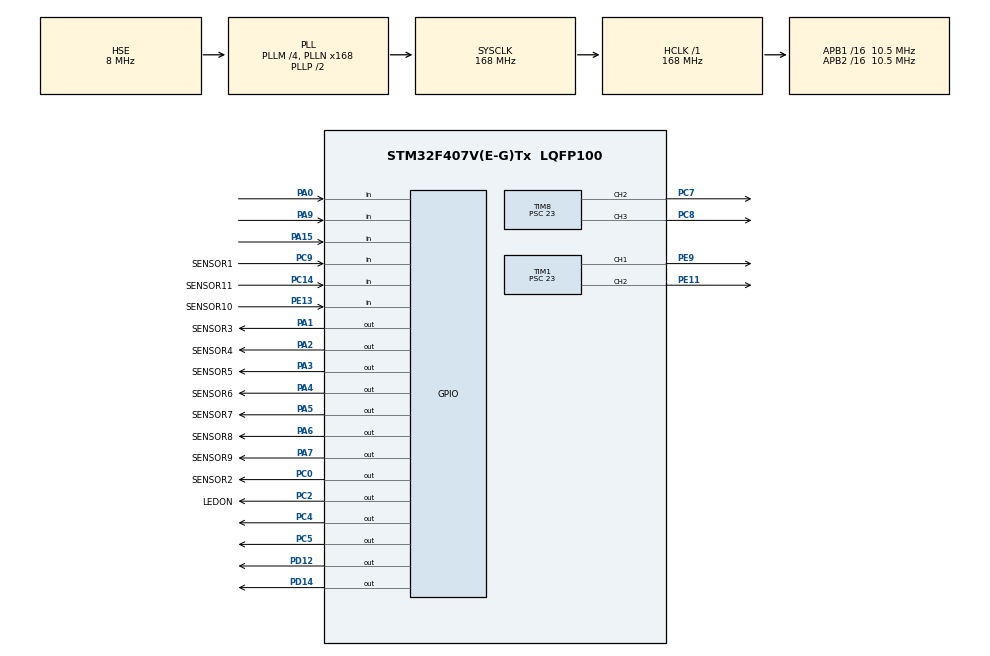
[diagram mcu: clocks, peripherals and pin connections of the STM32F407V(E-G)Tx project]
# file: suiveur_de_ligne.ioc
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Mcu.Family=STM32F4
Mcu.Name=STM32F407V(E-G)Tx
Mcu.Package=LQFP100
NVIC.PriorityGroup=NVIC_PRIORITYGROUP_0
PA0-WKUP.Signal=GPIO_Input
PA1.GPIO_Label=SENSOR3
PA1.Signal=GPIO_Output
PA13.Mode=Serial_Wire
PA13.Signal=SYS_JTMS-SWDIO
PA14.Mode=Serial_Wire
PA14.Signal=SYS_JTCK-SWCLK
PA15.Signal=GPIO_Input
PA2.GPIO_Label=SENSOR4
PA2.Signal=GPIO_Output
PA3.GPIO_Label=SENSOR5
PA3.Signal=GPIO_Output
PA4.GPIO_Label=SENSOR6
PA4.Signal=GPIO_Output
PA5.GPIO_Label=SENSOR7
PA5.Signal=GPIO_Output
PA6.GPIO_Label=SENSOR8
PA6.Signal=GPIO_Output
PA7.GPIO_Label=SENSOR9
PA7.Signal=GPIO_Output
PA9.Signal=GPIO_Input
PC0.GPIO_Label=SENSOR2
PC0.Signal=GPIO_Output
PC14-OSC32_IN.GPIO_Label=SENSOR11
PC14-OSC32_IN.Signal=GPIO_Input
PC2.GPIO_Label=LEDON
PC2.Signal=GPIO_Output
PC4.Signal=GPIO_Output
PC5.Signal=GPIO_Output
PC7.Signal=S_TIM8_CH2
PC8.Signal=S_TIM8_CH3
PC9.GPIO_Label=SENSOR1
PC9.Signal=GPIO_Input
PD12.Signal=GPIO_Output
PD14.Signal=GPIO_Output
PE11.Signal=S_TIM1_CH2
PE13.GPIO_Label=SENSOR10
PE13.Signal=GPIO_Input
PE9.Signal=S_TIM1_CH1
PH0-OSC_IN.Mode=HSE-External-Oscillator
PH0-OSC_IN.Signal=RCC_OSC_IN
PH1-OSC_OUT.Mode=HSE-External-Oscillator
PH1-OSC_OUT.Signal=RCC_OSC_OUT
ProjectManager.HeapSize=0x200
ProjectManager.StackSize=0x400
ProjectManager.TargetToolchain=STM32CubeIDE
RCC.48MHZClocksFreq_Value=48000000
RCC.AHBFreq_Value=168000000
RCC.APB1CLKDivider=RCC_HCLK_DIV16
RCC.APB1Freq_Value=10500000
RCC.APB1TimFreq_Value=21000000
RCC.APB2CLKDivider=RCC_HCLK_DIV16
RCC.APB2Freq_Value=10500000
RCC.APB2TimFreq_Value=21000000
RCC.CortexFreq_Value=168000000
RCC.HCLKFreq_Value=168000000
RCC.HSE_VALUE=8000000
RCC.HSI_VALUE=16000000
RCC.LSE_VALUE=32768
RCC.PLLM=4
RCC.PLLN=168
RCC.PLLQ=7
RCC.PLLSourceVirtual=RCC_PLLSOURCE_HSE
RCC.SYSCLKFreq_VALUE=168000000
RCC.SYSCLKSource=RCC_SYSCLKSOURCE_PLLCLK
RCC.VCOOutputFreq_Value=336000000
SH.S_TIM1_CH1.0=TIM1_CH1,PWM Generation1 CH1
SH.S_TIM1_CH2.0=TIM1_CH2,PWM Generation2 CH2
SH.S_TIM8_CH2.0=TIM8_CH2,PWM Generation2 CH2
SH.S_TIM8_CH3.0=TIM8_CH3,PWM Generation3 CH3
TIM1.Channel-PWM\ Generation1\ CH1=TIM_CHANNEL_1
TIM1.Channel-PWM\ Generation2\ CH2=TIM_CHANNEL_2
TIM1.Period=999
TIM1.Prescaler=23
TIM2.Period=65000
TIM2.Prescaler=20
TIM8.Channel-PWM\ Generation2\ CH2=TIM_CHANNEL_2
TIM8.Channel-PWM\ Generation3\ CH3=TIM_CHANNEL_3
TIM8.Period=999
TIM8.Prescaler=23
VP_TIM1_VS_ClockSourceINT.Mode=Internal
VP_TIM2_VS_ClockSourceINT.Mode=Internal
VP_TIM8_VS_ClockSourceINT.Mode=Internal
board=STM32F407G-DISC1

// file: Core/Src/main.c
/* USER CODE BEGIN Header */
/**
  ******************************************************************************
  * @file           : main.c
  * @brief          : Main program body
  ******************************************************************************
  * @attention
  *
  * Copyright (c) 2024 STMicroelectronics.
  * All rights reserved.
  *
  * This software is licensed under terms that can be found in the LICENSE file
  * in the root directory of this software component.
  * If no LICENSE file comes with this software, it is provided AS-IS.
  *
  ******************************************************************************
  */
/* USER CODE END Header */
#include "main.h"

TIM_HandleTypeDef htim1;
TIM_HandleTypeDef htim2;
TIM_HandleTypeDef htim8;

/* USER CODE BEGIN PV */
    int32_t sensor_read = 0x00000000;
	int position;
	int recv[100];
	float Kp = 1;// // 1 set up the constants value1.9//0.95//3
	//float Ki = 0.5;//0.5//0.3//0.468
	float Kd = 0.65;//22//25//20 0.04875//0.052

	float Kr = 0;
	int P, I, D, R;
	int lastError = 0;
	int errors[10] = {0,0,0,0,0,0,0,0,0,0};
	int error_sum = 0;
	int last_end = 0;	// 0 -> Left, 1 -> Right
	int last_idle = 0;
int c1,c2,c3,c4,c5,c6,c7,c8,c9,c10;
	const uint16_t Speed =1000;
	const uint16_t Speedt =1000;
    uint8_t c=0;
    uint8_t flag=0;
	int actives = 0;
/* USER CODE END PV */

void SystemClock_Config(void);
static void MX_GPIO_Init(void);
static void MX_TIM1_Init(void);
static void MX_TIM2_Init(void);
static void MX_TIM8_Init(void);

/* USER CODE BEGIN 0 */
void delay_us (uint16_t us)
{
	__HAL_TIM_SET_COUNTER(&htim2,0);  // set the counter value a 0
 while (__HAL_TIM_GET_COUNTER(&htim2) < us);  // wait for the counter to reach the us input in the parameter
}

void Set_Pin_Output (GPIO_TypeDef *GPIOx, uint16_t GPIO_Pin)
{
	GPIO_InitTypeDef GPIO_InitStruct = {0};
	GPIO_InitStruct.Pin = GPIO_Pin;
	GPIO_InitStruct.Mode = GPIO_MODE_OUTPUT_PP;
	GPIO_InitStruct.Pull = GPIO_NOPULL;
	GPIO_InitStruct.Speed = GPIO_SPEED_FREQ_LOW;
	HAL_GPIO_Init(GPIOx, &GPIO_InitStruct);
}

void Set_Pin_Input (GPIO_TypeDef *GPIOx, uint16_t GPIO_Pin)
{
	GPIO_InitTypeDef GPIO_InitStruct = {0};
	GPIO_InitStruct.Pin = GPIO_Pin;
	GPIO_InitStruct.Mode = GPIO_MODE_INPUT;
	GPIO_InitStruct.Pull = GPIO_PULLUP;
	HAL_GPIO_Init(GPIOx, &GPIO_InitStruct);
}

int QTR8_read_black()
{
	HAL_GPIO_WritePin(LEDON_GPIO_Port, LEDON_Pin, 1);

	//Set_Pin_Output(SENSOR1_GPIO_Port, SENSOR1_Pin);
	Set_Pin_Output(SENSOR2_GPIO_Port, SENSOR2_Pin);
	Set_Pin_Output(SENSOR3_GPIO_Port, SENSOR3_Pin);
	Set_Pin_Output(SENSOR4_GPIO_Port, SENSOR4_Pin);
	Set_Pin_Output(SENSOR5_GPIO_Port, SENSOR5_Pin);
	Set_Pin_Output(SENSOR6_GPIO_Port, SENSOR6_Pin);
	Set_Pin_Output(SENSOR7_GPIO_Port, SENSOR7_Pin);
	Set_Pin_Output(SENSOR8_GPIO_Port, SENSOR8_Pin);
	Set_Pin_Output(SENSOR9_GPIO_Port, SENSOR9_Pin);
	//Set_Pin_Output(SENSOR10_GPIO_Port, SENSOR10_Pin);

	//HAL_GPIO_WritePin (SENSOR1_GPIO_Port, SENSOR1_Pin, 1);
	HAL_GPIO_WritePin (SENSOR2_GPIO_Port, SENSOR2_Pin, 1);
	HAL_GPIO_WritePin (SENSOR3_GPIO_Port, SENSOR3_Pin, 1);
	HAL_GPIO_WritePin (SENSOR4_GPIO_Port, SENSOR4_Pin, 1);
	HAL_GPIO_WritePin (SENSOR5_GPIO_Port, SENSOR5_Pin, 1);
	HAL_GPIO_WritePin (SENSOR6_GPIO_Port, SENSOR6_Pin, 1);
	HAL_GPIO_WritePin (SENSOR7_GPIO_Port, SENSOR7_Pin, 1);
	HAL_GPIO_WritePin (SENSOR8_GPIO_Port, SENSOR8_Pin, 1);
	HAL_GPIO_WritePin (SENSOR9_GPIO_Port, SENSOR9_Pin, 1);
	//HAL_GPIO_WritePin (SENSOR10_GPIO_Port, SENSOR10_Pin, 1);
	delay_us(10);

	Set_Pin_Input(SENSOR1_GPIO_Port, SENSOR1_Pin);
	Set_Pin_Input(SENSOR2_GPIO_Port, SENSOR2_Pin);
	Set_Pin_Input(SENSOR3_GPIO_Port, SENSOR3_Pin);
	Set_Pin_Input(SENSOR4_GPIO_Port, SENSOR4_Pin);
	Set_Pin_Input(SENSOR5_GPIO_Port, SENSOR5_Pin);
	Set_Pin_Input(SENSOR6_GPIO_Port, SENSOR6_Pin);
	Set_Pin_Input(SENSOR7_GPIO_Port, SENSOR7_Pin);
	Set_Pin_Input(SENSOR8_GPIO_Port, SENSOR8_Pin);
	Set_Pin_Input(SENSOR9_GPIO_Port, SENSOR9_Pin);
	Set_Pin_Input(SENSOR10_GPIO_Port, SENSOR10_Pin);
	// Threshold
	delay_us(6000);

	sensor_read = 0x00000000;
	int pos = 0;
    int active = 0;

	if (HAL_GPIO_ReadPin(SENSOR2_GPIO_Port, SENSOR2_Pin)) {
		sensor_read |= 0x00000001;
		pos += 1000;

        active++;

	}
	if (HAL_GPIO_ReadPin(SENSOR3_GPIO_Port, SENSOR3_Pin)) {
		sensor_read |= 0x00000010;
		pos += 2000;
    active++;

  }
	if (HAL_GPIO_ReadPin(SENSOR4_GPIO_Port, SENSOR4_Pin)) {
		sensor_read |= 0x00000100;
		pos += 3000;
    active++;
  }
	if (HAL_GPIO_ReadPin(SENSOR5_GPIO_Port, SENSOR5_Pin)) {
		sensor_read |= 0x00001000;
		pos += 4000;
    active++;
  }
	if (HAL_GPIO_ReadPin(SENSOR6_GPIO_Port, SENSOR6_Pin)) {
		sensor_read |= 0x00010000;
		pos += 5000;
    active++;
  }
	if (HAL_GPIO_ReadPin(SENSOR7_GPIO_Port, SENSOR7_Pin)) {
		sensor_read |= 0x00100000;
		pos += 6000;
    active++;
  }
	if (HAL_GPIO_ReadPin(SENSOR8_GPIO_Port, SENSOR8_Pin)) {
		sensor_read |= 0x01000000;
		pos += 7000;
    active++;
  }

	if (HAL_GPIO_ReadPin(SENSOR9_GPIO_Port, SENSOR9_Pin)) {
		sensor_read |= 0x10000000;
		pos += 8000;
    active++;

  }

  HAL_GPIO_WritePin(LEDON_GPIO_Port, LEDON_Pin, 0);
    actives = active;
	position = pos/active;

	if (actives == 0)
		last_idle++;
	else
		last_idle = 0;

	c10=HAL_GPIO_ReadPin(SENSOR10_GPIO_Port, SENSOR10_Pin);
	c5=HAL_GPIO_ReadPin(SENSOR1_GPIO_Port, SENSOR1_Pin);
	return pos/active;
}

void past_errors (int error)
{
  for (int i = 9; i > 0; i--)
      errors[i] = errors[i-1];
  errors[0] = error;
}

int errors_sum (int index, int abs)
{
  int sum = 0;
  for (int i = 0; i < index; i++)
  {
    if ((abs == 1) && ( errors[i]< 0))
      sum += -errors[i];
    else
      sum += errors[i];
  }
  return sum;
}
void move(int motor, int speed, int direction)
{

    unsigned int inPin1 = 0;
    unsigned int inPin2 = 0;

    if (direction == 1)
    {
        inPin1 = speed;
        inPin2 = 0;
    }
    if (direction == 0)
    {
        inPin1 = 0;
        inPin2 = speed;
    }

    if (motor == 0)
    {
    	  __HAL_TIM_SET_COMPARE (&htim1, TIM_CHANNEL_1, inPin1);
    	  __HAL_TIM_SET_COMPARE (&htim1, TIM_CHANNEL_2,inPin2);

    }
    if (motor == 1)
    {
  	  __HAL_TIM_SET_COMPARE (&htim8, TIM_CHANNEL_2, inPin1*0.55);
  	  __HAL_TIM_SET_COMPARE (&htim8, TIM_CHANNEL_3,inPin2*0.55 );
    }
}

int constrain(int value, int min, int max) {
    if (value < min) {
        return min;
    } else if (value > max) {
        return max;
    } else {
        return value;
    }
}

void stop (void)
{

if((sensor_read==0x11111111)) {flag=1;}

if ((sensor_read!=0x11111111)&&(flag==1))
{
	__HAL_TIM_SET_COMPARE (&htim1, TIM_CHANNEL_1, 100);
	__HAL_TIM_SET_COMPARE (&htim1, TIM_CHANNEL_2,100);
    __HAL_TIM_SET_COMPARE (&htim8, TIM_CHANNEL_2, 100);
	__HAL_TIM_SET_COMPARE (&htim8, TIM_CHANNEL_3, 100);
    HAL_Delay(70000);
}
}

void PID_control(){
	uint16_t position=QTR8_read_black();
		int error=4333 - position;//5500//5300//4333
			past_errors(error);
			P = error;
			I = errors_sum(5, 0);
			D = error - lastError;
			R = errors_sum(5, 1);

		 int adjustment = Kp * error + Kd * D;
		 lastError = error;
c4=HAL_GPIO_ReadPin(SENSOR11_GPIO_Port, SENSOR11_Pin);
		 stop();

	        move(0, (constrain(Speed + adjustment, 0, Speed)), 1);
	        move(1, (constrain(Speed - adjustment, 0, Speed)), 1);
	/*int motorspeed = P*Kp + I*Ki + D*Kd;
*/

}

/* USER CODE END 0 */

int main(void)
{

  /* MCU Configuration--------------------------------------------------------*/

  /* Reset of all peripherals, Initializes the Flash interface and the Systick. */
  HAL_Init();

  /* Configure the system clock */
  SystemClock_Config();

  /* Initialize all configured peripherals */
  MX_GPIO_Init();
  MX_TIM1_Init();
  MX_TIM2_Init();
  MX_TIM8_Init();
  /* USER CODE BEGIN 2 */
  HAL_GPIO_WritePin(GPIOC, GPIO_PIN_4,1);
  HAL_GPIO_WritePin(GPIOC, GPIO_PIN_5,1);
  while(!(HAL_GPIO_ReadPin(GPIOA, GPIO_PIN_0))){}
  HAL_Delay(100);
  HAL_TIM_Base_Start(&htim2);
  HAL_TIM_PWM_Start(&htim1, TIM_CHANNEL_1);
  HAL_TIM_PWM_Start(&htim8, TIM_CHANNEL_2);

  HAL_TIM_PWM_Start(&htim1, TIM_CHANNEL_2);
  HAL_TIM_PWM_Start(&htim8, TIM_CHANNEL_3);

  while (1)
  {
    /* USER CODE END WHILE */

    /* USER CODE BEGIN 3 */
	  if ((HAL_GPIO_ReadPin(SENSOR1_GPIO_Port, SENSOR1_Pin))&&(!(HAL_GPIO_ReadPin(SENSOR10_GPIO_Port, SENSOR10_Pin))))
	  				 {
	  		 			do {c1=1;
	  		 			c3=0;
	  		 				move(0,Speedt, 1);
	  		 			}while(HAL_GPIO_ReadPin(SENSOR11_GPIO_Port, SENSOR11_Pin));

	  		 			c1=0; }
	  		 else if ((HAL_GPIO_ReadPin(SENSOR10_GPIO_Port, SENSOR10_Pin))&&(!(HAL_GPIO_ReadPin(SENSOR1_GPIO_Port, SENSOR1_Pin))))
	  		 			{
	  do{c2=1;
	  c3=0;
	  		 		move(1,Speedt, 1);
	  		 		}while(HAL_GPIO_ReadPin(SENSOR11_GPIO_Port, SENSOR11_Pin));
	  c2=0;}
	  		 else{c3=1;

	 PID_control();
	  		 }
  }
  /* USER CODE END 3 */
}

void SystemClock_Config(void)
{
  RCC_OscInitTypeDef RCC_OscInitStruct = {0};
  RCC_ClkInitTypeDef RCC_ClkInitStruct = {0};

  /** Configure the main internal regulator output voltage
  */
  __HAL_RCC_PWR_CLK_ENABLE();
  __HAL_PWR_VOLTAGESCALING_CONFIG(PWR_REGULATOR_VOLTAGE_SCALE1);

  /** Initializes the RCC Oscillators according to the specified parameters
  * in the RCC_OscInitTypeDef structure.
  */
  RCC_OscInitStruct.OscillatorType = RCC_OSCILLATORTYPE_HSE;
  RCC_OscInitStruct.HSEState = RCC_HSE_ON;
  RCC_OscInitStruct.PLL.PLLState = RCC_PLL_ON;
  RCC_OscInitStruct.PLL.PLLSource = RCC_PLLSOURCE_HSE;
  RCC_OscInitStruct.PLL.PLLM = 4;
  RCC_OscInitStruct.PLL.PLLN = 168;
  RCC_OscInitStruct.PLL.PLLP = RCC_PLLP_DIV2;
  RCC_OscInitStruct.PLL.PLLQ = 7;
  if (HAL_RCC_OscConfig(&RCC_OscInitStruct) != HAL_OK)
  {
    Error_Handler();
  }

  /** Initializes the CPU, AHB and APB buses clocks
  */
  RCC_ClkInitStruct.ClockType = RCC_CLOCKTYPE_HCLK|RCC_CLOCKTYPE_SYSCLK
                              |RCC_CLOCKTYPE_PCLK1|RCC_CLOCKTYPE_PCLK2;
  RCC_ClkInitStruct.SYSCLKSource = RCC_SYSCLKSOURCE_PLLCLK;
  RCC_ClkInitStruct.AHBCLKDivider = RCC_SYSCLK_DIV1;
  RCC_ClkInitStruct.APB1CLKDivider = RCC_HCLK_DIV16;
  RCC_ClkInitStruct.APB2CLKDivider = RCC_HCLK_DIV16;

  if (HAL_RCC_ClockConfig(&RCC_ClkInitStruct, FLASH_LATENCY_5) != HAL_OK)
  {
    Error_Handler();
  }
}

static void MX_TIM1_Init(void)
{

  TIM_ClockConfigTypeDef sClockSourceConfig = {0};
  TIM_MasterConfigTypeDef sMasterConfig = {0};
  TIM_OC_InitTypeDef sConfigOC = {0};
  TIM_BreakDeadTimeConfigTypeDef sBreakDeadTimeConfig = {0};

  htim1.Instance = TIM1;
  htim1.Init.Prescaler = 23;
  htim1.Init.CounterMode = TIM_COUNTERMODE_UP;
  htim1.Init.Period = 999;
  htim1.Init.ClockDivision = TIM_CLOCKDIVISION_DIV1;
  htim1.Init.RepetitionCounter = 0;
  htim1.Init.AutoReloadPreload = TIM_AUTORELOAD_PRELOAD_DISABLE;
  if (HAL_TIM_Base_Init(&htim1) != HAL_OK)
  {
    Error_Handler();
  }
  sClockSourceConfig.ClockSource = TIM_CLOCKSOURCE_INTERNAL;
  if (HAL_TIM_ConfigClockSource(&htim1, &sClockSourceConfig) != HAL_OK)
  {
    Error_Handler();
  }
  if (HAL_TIM_PWM_Init(&htim1) != HAL_OK)
  {
    Error_Handler();
  }
  sMasterConfig.MasterOutputTrigger = TIM_TRGO_RESET;
  sMasterConfig.MasterSlaveMode = TIM_MASTERSLAVEMODE_DISABLE;
  if (HAL_TIMEx_MasterConfigSynchronization(&htim1, &sMasterConfig) != HAL_OK)
  {
    Error_Handler();
  }
  sConfigOC.OCMode = TIM_OCMODE_PWM1;
  sConfigOC.Pulse = 0;
  sConfigOC.OCPolarity = TIM_OCPOLARITY_HIGH;
  sConfigOC.OCNPolarity = TIM_OCNPOLARITY_HIGH;
  sConfigOC.OCFastMode = TIM_OCFAST_DISABLE;
  sConfigOC.OCIdleState = TIM_OCIDLESTATE_RESET;
  sConfigOC.OCNIdleState = TIM_OCNIDLESTATE_RESET;
  if (HAL_TIM_PWM_ConfigChannel(&htim1, &sConfigOC, TIM_CHANNEL_1) != HAL_OK)
  {
    Error_Handler();
  }
  if (HAL_TIM_PWM_ConfigChannel(&htim1, &sConfigOC, TIM_CHANNEL_2) != HAL_OK)
  {
    Error_Handler();
  }
  sBreakDeadTimeConfig.OffStateRunMode = TIM_OSSR_DISABLE;
  sBreakDeadTimeConfig.OffStateIDLEMode = TIM_OSSI_DISABLE;
  sBreakDeadTimeConfig.LockLevel = TIM_LOCKLEVEL_OFF;
  sBreakDeadTimeConfig.DeadTime = 0;
  sBreakDeadTimeConfig.BreakState = TIM_BREAK_DISABLE;
  sBreakDeadTimeConfig.BreakPolarity = TIM_BREAKPOLARITY_HIGH;
  sBreakDeadTimeConfig.AutomaticOutput = TIM_AUTOMATICOUTPUT_DISABLE;
  if (HAL_TIMEx_ConfigBreakDeadTime(&htim1, &sBreakDeadTimeConfig) != HAL_OK)
  {
    Error_Handler();
  }
  HAL_TIM_MspPostInit(&htim1);

}

static void MX_TIM2_Init(void)
{

  TIM_ClockConfigTypeDef sClockSourceConfig = {0};
  TIM_MasterConfigTypeDef sMasterConfig = {0};

  htim2.Instance = TIM2;
  htim2.Init.Prescaler = 20;
  htim2.Init.CounterMode = TIM_COUNTERMODE_UP;
  htim2.Init.Period = 65000;
  htim2.Init.ClockDivision = TIM_CLOCKDIVISION_DIV1;
  htim2.Init.AutoReloadPreload = TIM_AUTORELOAD_PRELOAD_DISABLE;
  if (HAL_TIM_Base_Init(&htim2) != HAL_OK)
  {
    Error_Handler();
  }
  sClockSourceConfig.ClockSource = TIM_CLOCKSOURCE_INTERNAL;
  if (HAL_TIM_ConfigClockSource(&htim2, &sClockSourceConfig) != HAL_OK)
  {
    Error_Handler();
  }
  sMasterConfig.MasterOutputTrigger = TIM_TRGO_RESET;
  sMasterConfig.MasterSlaveMode = TIM_MASTERSLAVEMODE_DISABLE;
  if (HAL_TIMEx_MasterConfigSynchronization(&htim2, &sMasterConfig) != HAL_OK)
  {
    Error_Handler();
  }

}

static void MX_TIM8_Init(void)
{

  TIM_ClockConfigTypeDef sClockSourceConfig = {0};
  TIM_MasterConfigTypeDef sMasterConfig = {0};
  TIM_OC_InitTypeDef sConfigOC = {0};
  TIM_BreakDeadTimeConfigTypeDef sBreakDeadTimeConfig = {0};

  htim8.Instance = TIM8;
  htim8.Init.Prescaler = 23;
  htim8.Init.CounterMode = TIM_COUNTERMODE_UP;
  htim8.Init.Period = 999;
  htim8.Init.ClockDivision = TIM_CLOCKDIVISION_DIV1;
  htim8.Init.RepetitionCounter = 0;
  htim8.Init.AutoReloadPreload = TIM_AUTORELOAD_PRELOAD_DISABLE;
  if (HAL_TIM_Base_Init(&htim8) != HAL_OK)
  {
    Error_Handler();
  }
  sClockSourceConfig.ClockSource = TIM_CLOCKSOURCE_INTERNAL;
  if (HAL_TIM_ConfigClockSource(&htim8, &sClockSourceConfig) != HAL_OK)
  {
    Error_Handler();
  }
  if (HAL_TIM_PWM_Init(&htim8) != HAL_OK)
  {
    Error_Handler();
  }
  sMasterConfig.MasterOutputTrigger = TIM_TRGO_RESET;
  sMasterConfig.MasterSlaveMode = TIM_MASTERSLAVEMODE_DISABLE;
  if (HAL_TIMEx_MasterConfigSynchronization(&htim8, &sMasterConfig) != HAL_OK)
  {
    Error_Handler();
  }
  sConfigOC.OCMode = TIM_OCMODE_PWM1;
  sConfigOC.Pulse = 0;
  sConfigOC.OCPolarity = TIM_OCPOLARITY_HIGH;
  sConfigOC.OCNPolarity = TIM_OCNPOLARITY_HIGH;
  sConfigOC.OCFastMode = TIM_OCFAST_DISABLE;
  sConfigOC.OCIdleState = TIM_OCIDLESTATE_RESET;
  sConfigOC.OCNIdleState = TIM_OCNIDLESTATE_RESET;
  if (HAL_TIM_PWM_ConfigChannel(&htim8, &sConfigOC, TIM_CHANNEL_2) != HAL_OK)
  {
    Error_Handler();
  }
  if (HAL_TIM_PWM_ConfigChannel(&htim8, &sConfigOC, TIM_CHANNEL_3) != HAL_OK)
  {
    Error_Handler();
  }
  sBreakDeadTimeConfig.OffStateRunMode = TIM_OSSR_DISABLE;
  sBreakDeadTimeConfig.OffStateIDLEMode = TIM_OSSI_DISABLE;
  sBreakDeadTimeConfig.LockLevel = TIM_LOCKLEVEL_OFF;
  sBreakDeadTimeConfig.DeadTime = 0;
  sBreakDeadTimeConfig.BreakState = TIM_BREAK_DISABLE;
  sBreakDeadTimeConfig.BreakPolarity = TIM_BREAKPOLARITY_HIGH;
  sBreakDeadTimeConfig.AutomaticOutput = TIM_AUTOMATICOUTPUT_DISABLE;
  if (HAL_TIMEx_ConfigBreakDeadTime(&htim8, &sBreakDeadTimeConfig) != HAL_OK)
  {
    Error_Handler();
  }
  HAL_TIM_MspPostInit(&htim8);

}

static void MX_GPIO_Init(void)
{
  GPIO_InitTypeDef GPIO_InitStruct = {0};

  /* GPIO Ports Clock Enable */
  __HAL_RCC_GPIOC_CLK_ENABLE();
  __HAL_RCC_GPIOH_CLK_ENABLE();
  __HAL_RCC_GPIOA_CLK_ENABLE();
  __HAL_RCC_GPIOE_CLK_ENABLE();
  __HAL_RCC_GPIOD_CLK_ENABLE();

  /*Configure GPIO pin Output Level */
  HAL_GPIO_WritePin(GPIOC, SENSOR2_Pin|LEDON_Pin|GPIO_PIN_4|GPIO_PIN_5, GPIO_PIN_RESET);

  /*Configure GPIO pin Output Level */
  HAL_GPIO_WritePin(GPIOA, SENSOR3_Pin|SENSOR4_Pin|SENSOR5_Pin|SENSOR6_Pin
                          |SENSOR7_Pin|SENSOR8_Pin|SENSOR9_Pin, GPIO_PIN_RESET);

  /*Configure GPIO pin Output Level */
  HAL_GPIO_WritePin(GPIOD, GPIO_PIN_12|GPIO_PIN_14, GPIO_PIN_RESET);

  /*Configure GPIO pins : SENSOR11_Pin SENSOR1_Pin */
  GPIO_InitStruct.Pin = SENSOR11_Pin|SENSOR1_Pin;
  GPIO_InitStruct.Mode = GPIO_MODE_INPUT;
  GPIO_InitStruct.Pull = GPIO_NOPULL;
  HAL_GPIO_Init(GPIOC, &GPIO_InitStruct);

  /*Configure GPIO pins : SENSOR2_Pin LEDON_Pin PC4 PC5 */
  GPIO_InitStruct.Pin = SENSOR2_Pin|LEDON_Pin|GPIO_PIN_4|GPIO_PIN_5;
  GPIO_InitStruct.Mode = GPIO_MODE_OUTPUT_PP;
  GPIO_InitStruct.Pull = GPIO_NOPULL;
  GPIO_InitStruct.Speed = GPIO_SPEED_FREQ_LOW;
  HAL_GPIO_Init(GPIOC, &GPIO_InitStruct);

  /*Configure GPIO pins : PA0 PA9 PA15 */
  GPIO_InitStruct.Pin = GPIO_PIN_0|GPIO_PIN_9|GPIO_PIN_15;
  GPIO_InitStruct.Mode = GPIO_MODE_INPUT;
  GPIO_InitStruct.Pull = GPIO_NOPULL;
  HAL_GPIO_Init(GPIOA, &GPIO_InitStruct);

  /*Configure GPIO pins : SENSOR3_Pin SENSOR4_Pin SENSOR5_Pin SENSOR6_Pin
                           SENSOR7_Pin SENSOR8_Pin SENSOR9_Pin */
  GPIO_InitStruct.Pin = SENSOR3_Pin|SENSOR4_Pin|SENSOR5_Pin|SENSOR6_Pin
                          |SENSOR7_Pin|SENSOR8_Pin|SENSOR9_Pin;
  GPIO_InitStruct.Mode = GPIO_MODE_OUTPUT_PP;
  GPIO_InitStruct.Pull = GPIO_NOPULL;
  GPIO_InitStruct.Speed = GPIO_SPEED_FREQ_LOW;
  HAL_GPIO_Init(GPIOA, &GPIO_InitStruct);

  /*Configure GPIO pin : SENSOR10_Pin */
  GPIO_InitStruct.Pin = SENSOR10_Pin;
  GPIO_InitStruct.Mode = GPIO_MODE_INPUT;
  GPIO_InitStruct.Pull = GPIO_NOPULL;
  HAL_GPIO_Init(SENSOR10_GPIO_Port, &GPIO_InitStruct);

  /*Configure GPIO pins : PD12 PD14 */
  GPIO_InitStruct.Pin = GPIO_PIN_12|GPIO_PIN_14;
  GPIO_InitStruct.Mode = GPIO_MODE_OUTPUT_PP;
  GPIO_InitStruct.Pull = GPIO_NOPULL;
  GPIO_InitStruct.Speed = GPIO_SPEED_FREQ_LOW;
  HAL_GPIO_Init(GPIOD, &GPIO_InitStruct);

}

void Error_Handler(void)
{
  __disable_irq();
  while (1)
  {
  }
}
